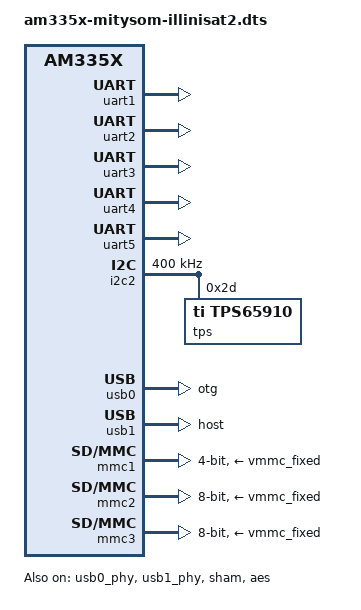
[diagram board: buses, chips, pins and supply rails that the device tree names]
/dts-v1/;

#include "am335x-mitysom-common.dtsi"
#include "am335x-mitysom-512M.dtsi"

&am33xx_pinmux {
	gpio2_pins_default: gpio2_pins_default {
		pinctrl-single,pins = <
			AM33XX_IOPAD(0x93c, PIN_INPUT_PULLUP | MUX_MODE7) /* (L15) gmii1_rxd1.gpio2[20] (ANTENNA CTRL) */
		>;
	};

	mmc0_pins_default: mmc0_pins_default {
		pinctrl-single,pins = <
			AM33XX_IOPAD(0x900, PIN_INPUT_PULLUP | MUX_MODE0) /* (G17) mmc0_clk.mmc0_clk */
			AM33XX_IOPAD(0x904, PIN_INPUT_PULLUP | MUX_MODE0) /* (G18) mmc0_cmd.mmc0_cmd */
			AM33XX_IOPAD(0x8fc, PIN_INPUT_PULLUP | MUX_MODE0) /* (G16) mmc0_dat0.mmc0_dat0 */
			AM33XX_IOPAD(0x8f8, PIN_INPUT_PULLUP | MUX_MODE0) /* (G15) mmc0_dat1.mmc0_dat1 */
			AM33XX_IOPAD(0x8f4, PIN_INPUT_PULLUP | MUX_MODE0) /* (F18) mmc0_dat2.mmc0_dat2 */
			AM33XX_IOPAD(0x8f0, PIN_INPUT_PULLUP | MUX_MODE0) /* (F17) mmc0_dat3.mmc0_dat3 */
		>;
	};

	mmc1_pins_default: mmc1_pins_default {
		pinctrl-single,pins = <
			AM33XX_IOPAD(0x880, PIN_INPUT_PULLUP | MUX_MODE2) /* (U9) gpmc_csn1.mmc1_clk */
			AM33XX_IOPAD(0x884, PIN_INPUT_PULLUP | MUX_MODE2) /* (V9) gpmc_csn2.mmc1_cmd */
			AM33XX_IOPAD(0x820, PIN_INPUT_PULLUP | MUX_MODE2) /* (U10) gpmc_ad8.mmc1_dat0 */
			AM33XX_IOPAD(0x824, PIN_INPUT_PULLUP | MUX_MODE2) /* (T10) gpmc_ad9.mmc1_dat1 */
			AM33XX_IOPAD(0x828, PIN_INPUT_PULLUP | MUX_MODE2) /* (T11) gpmc_ad10.mmc1_dat2 */
			AM33XX_IOPAD(0x82c, PIN_INPUT_PULLUP | MUX_MODE2) /* (U12) gpmc_ad11.mmc1_dat3 */
			AM33XX_IOPAD(0x830, PIN_INPUT_PULLUP | MUX_MODE2) /* (T12) gpmc_ad12.mmc1_dat4 */
			AM33XX_IOPAD(0x834, PIN_INPUT_PULLUP | MUX_MODE2) /* (R12) gpmc_ad13.mmc1_dat5 */
			AM33XX_IOPAD(0x838, PIN_INPUT_PULLUP | MUX_MODE2) /* (V13) gpmc_ad14.mmc1_dat6 */
			AM33XX_IOPAD(0x83c, PIN_INPUT_PULLUP | MUX_MODE2) /* (U13) gpmc_ad15.mmc1_dat7 */
		>;
	};

	mmc2_pins_default: mmc2_pins_default {
		pinctrl-single,pins = <
			AM33XX_IOPAD(0x88c, PIN_INPUT_PULLUP | MUX_MODE3) /* (V12) gpmc_clk.mmc2_clk */
			AM33XX_IOPAD(0x888, PIN_INPUT_PULLUP | MUX_MODE3) /* (T13) gpmc_csn3.mmc2_cmd */
			AM33XX_IOPAD(0x844, PIN_INPUT_PULLUP | MUX_MODE3) /* (V14) gpmc_a1.mmc2_dat0 */
			AM33XX_IOPAD(0x848, PIN_INPUT_PULLUP | MUX_MODE3) /* (U14) gpmc_a2.mmc2_dat1 */
			AM33XX_IOPAD(0x84c, PIN_INPUT_PULLUP | MUX_MODE3) /* (T14) gpmc_a3.mmc2_dat2 */
			AM33XX_IOPAD(0x878, PIN_INPUT_PULLUP | MUX_MODE3) /* (U18) gpmc_be1n.mmc2_dat3 */
			AM33XX_IOPAD(0x858, PIN_INPUT_PULLUP | MUX_MODE3) /* (U15) gpmc_a6.mmc2_dat4 */
			AM33XX_IOPAD(0x85c, PIN_INPUT_PULLUP | MUX_MODE3) /* (T15) gpmc_a7.mmc2_dat5 */
			AM33XX_IOPAD(0x860, PIN_INPUT_PULLUP | MUX_MODE3) /* (V16) gpmc_a8.mmc2_dat6 */
			AM33XX_IOPAD(0x864, PIN_INPUT_PULLUP | MUX_MODE3) /* (U16) gpmc_a9.mmc2_dat7 */
		>;
	};

	uart0_pins_default: uart0_pins_default {
		pinctrl-single,pins = <
			AM33XX_IOPAD(0x970, PIN_INPUT_PULLUP | MUX_MODE0) /* (E15) uart0_rxd.uart0_rxd */
			AM33XX_IOPAD(0x974, PIN_OUTPUT_PULLUP | MUX_MODE0) /* (E16) uart0_txd.uart0_txd */
		>;
	};

	uart1_pins_default: uart1_pins_default {
		pinctrl-single,pins = <
			AM33XX_IOPAD(0x980, PIN_INPUT_PULLUP | MUX_MODE0) /* (D16) uart1_rxd.uart1_rxd */
			AM33XX_IOPAD(0x984, PIN_OUTPUT_PULLUP | MUX_MODE0) /* (D15) uart1_txd.uart1_txd */
		>;
	};

	uart2_pins_default: uart2_pins_default {
		pinctrl-single,pins = <
			AM33XX_IOPAD(0x950, PIN_INPUT_PULLUP | MUX_MODE1) /* (A17) spi0_sclk.uart2_rxd */
			AM33XX_IOPAD(0x954, PIN_OUTPUT_PULLUP | MUX_MODE1) /* (B17) spi0_d0.uart2_txd */
			AM33XX_IOPAD(0x988, PIN_INPUT_PULLUP | MUX_MODE2) /* (C17) I2C0_SDA.uart2_ctsn */
			AM33XX_IOPAD(0x98c, PIN_OUTPUT_PULLUP | MUX_MODE2) /* (C16) I2C0_SCL.uart2_rtsn */
		>;
	};

	uart3_pins_default: uart3_pins_default {
		pinctrl-single,pins = <
			AM33XX_IOPAD(0x934, PIN_INPUT_PULLUP | MUX_MODE1) /* (L17) gmii1_rxd3.uart3_rxd */
			AM33XX_IOPAD(0x938, PIN_OUTPUT_PULLUP | MUX_MODE1) /* (L16) gmii1_rxd2.uart3_txd */
            AM33XX_IOPAD(0x928, PIN_OUTPUT_PULLDOWN | MUX_MODE7) /* (K17) gmii1_txd0.gpio0[28] (WR EN PIN) */
		>;
	};

	uart4_pins_default: uart4_pins_default {
		pinctrl-single,pins = <
			AM33XX_IOPAD(0x91c, PIN_INPUT_PULLUP | MUX_MODE3) /* (J18) gmii1_txd3.uart4_rxd */
			AM33XX_IOPAD(0x920, PIN_OUTPUT_PULLUP | MUX_MODE3) /* (K15) gmii1_txd2.uart4_txd */
		>;
	};

	uart5_pins_default: uart5_pins_default {
		pinctrl-single,pins = <
			AM33XX_IOPAD(0x948, PIN_INPUT_PULLUP | MUX_MODE2) /* (M17) mdio_data.uart5_rxd */
			AM33XX_IOPAD(0x94c, PIN_OUTPUT_PULLUP | MUX_MODE2) /* (M18) mdio_clk.uart5_txd */
		>;
	};

};


&uart1 {
	pinctrl-names = "default";
	pinctrl-0 = <&uart1_pins_default>;

	status = "okay";
};

&uart2 {
	pinctrl-names = "default";
	pinctrl-0 = <&uart2_pins_default>;

	status = "okay";
};

/* RS485 */
&uart3 {
	pinctrl-names = "default";
	pinctrl-0 = <&uart3_pins_default>;
	rts-gpio = <&gpio0 28 GPIO_ACTIVE_HIGH>;
	rs485-rts-delay =<1 1>;
	rs485-rts-active-high;
	/*rs485-rx-during-tx;*/
	linux,rs485-enabled-at-boot-time;
	status = "okay";
};

&uart4 {
	pinctrl-names = "default";
	pinctrl-0 = <&uart4_pins_default>;

	status = "okay";
};

&uart5 {
	pinctrl-names = "default";
	pinctrl-0 = <&uart5_pins_default>;

	status = "okay";
};

&i2c2 {
	pinctrl-names = "default", "sleep";
	pinctrl-0 = <&i2c2_pins_default>;
	pinctrl-1 = <&i2c2_pins_sleep>;

	status = "okay";
	clock-frequency = <400000>;

	tps: tps@2d {
		compatible = "ti,tps65910";
		reg = <0x2d>;
	};

};

&usb0 {
	//status = "disabled"; // Not used
	status = "okay";
	dr_mode = "otg";
};

&usb0_phy {
    status = "okay";
};

&usb1 {
	status = "okay";
	dr_mode = "host";
};

&usb1_phy {
    status = "okay";
};

/* Yes I know the indexing is different */

&mmc1 {
	status = "okay";
	vmmc-supply = <&vmmc_fixed>;
	pinctrl-names = "default";
	pinctrl-0 = <&mmc0_pins_default>;
	bus-width = <4>;
    disable-wp;
    max-frequency = <10000000>;
};

&mmc2 {
	status = "okay";
	vmmc-supply = <&vmmc_fixed>;
	pinctrl-names = "default", "sleep";
	pinctrl-0 = <&mmc1_pins_default>;
	bus-width = <8>;
    disable-wp;
    max-frequency = <10000000>;
};

&mmc3 {
	status = "okay";
	vmmc-supply = <&vmmc_fixed>;
	pinctrl-names = "default";
	pinctrl-0 = <&mmc2_pins_default>;
	bus-width = <8>;
    disable-wp;
    max-frequency = <10000000>;
};



&edma {
	ti,edma-xbar-event-map = /bits/ 16 <1 12
					    2 13>;
};

&sham {
	status = "okay";
};

&aes {
	status = "okay";
};

&wkup_m3_ipc {
	ti,scale-data-fw = "am335x-evm-scale-data.bin";
};

&rtc {
	system-power-controller;
};
